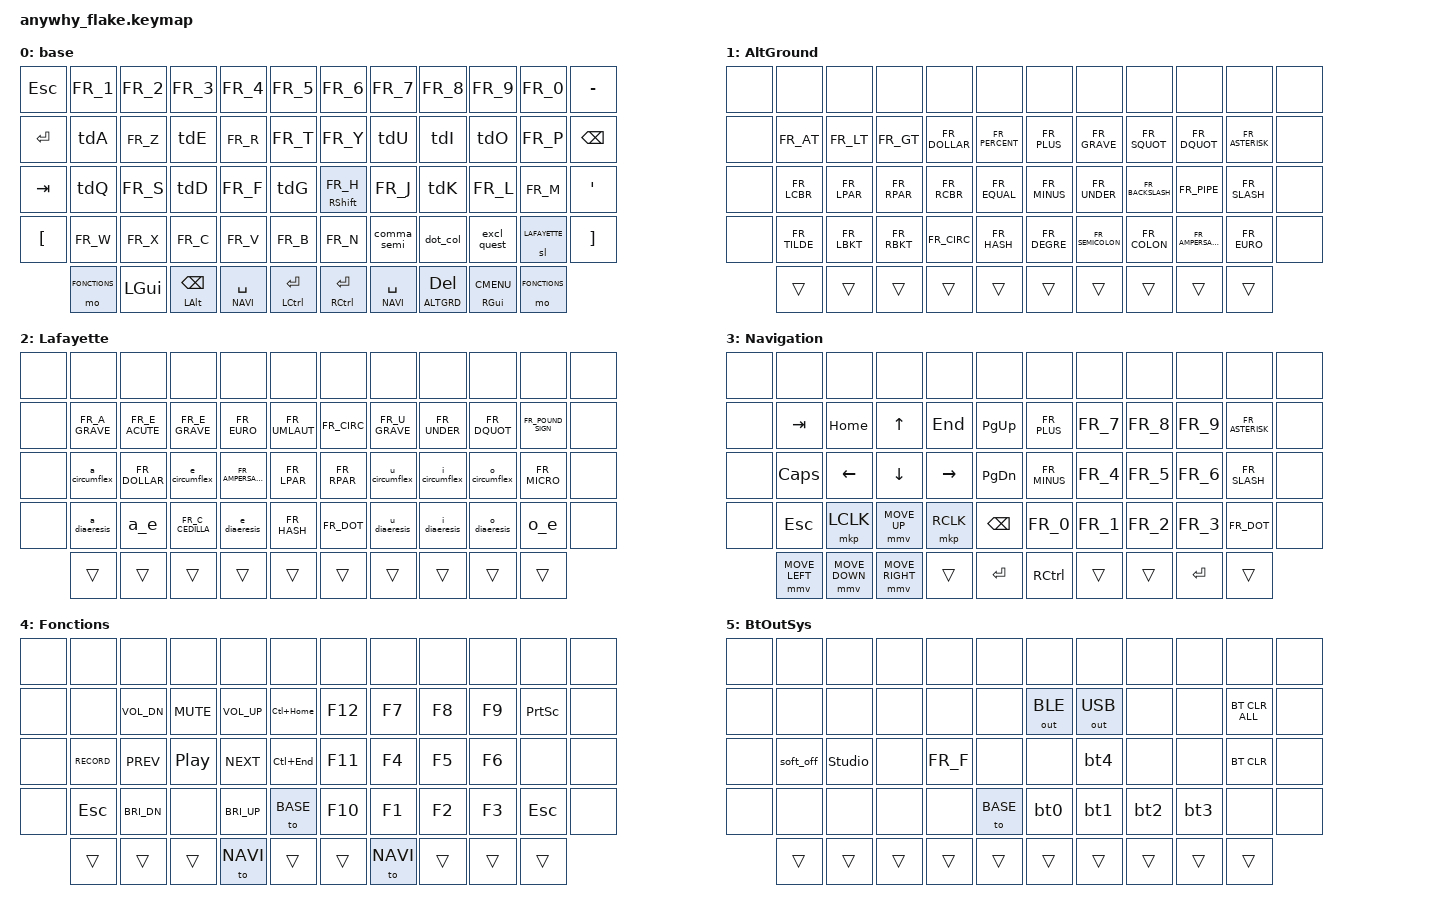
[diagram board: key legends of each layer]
#include <behaviors/mouse_keys.dtsi>
#include <behaviors.dtsi>
#include <dt-bindings/zmk/bt.h>
#include <dt-bindings/zmk/keys.h>
#include <dt-bindings/zmk/outputs.h>

#include "locale/keymap_fr.h"


#define BASE 0
#define ALTGRD 1
#define LAFAYETTE 2
#define NAVI 3
#define FONCTIONS 4
#define BT_OUT_SYS 5

#define ZMK_POINTING_DEFAULT_MOVE_VAL 1200  // 600
#define ZMK_POINTING_DEFAULT_SCRL_VAL 200    // 10
#include <dt-bindings/zmk/pointing.h>

#define HM_TAPPING_TERM 200

/ {
    // Activate BT_OUT_SYS layer by pressing ALTGRD and FONCTIONS
    conditional_layers {
        compatible = "zmk,conditional-layers";
        adajust_layer {
            if-layers = <FONCTIONS ALTGRD>;
            then-layer = <BT_OUT_SYS>;
        };
    };

    combos {
        compatible = "zmk,combos";

        bt_sel_3 {
            bindings = <&bt3>;
            key-positions = <42 30>;
            layers = <FONCTIONS>;
        };

        bt_sel_4 {
            bindings = <&bt4>;
            key-positions = <30 18>;
            layers = <FONCTIONS>;
        };

//        enter_gaming {
//            bindings = <&sl 3>;
//            key-positions = <26 15 28>;
//            layers = <FONCTIONS>;
//        };
//
//        leave_gaming {
//            bindings = <&sl 0>;
//            key-positions = <31 20 33>;
//            layers = <GAMINGNUM>;
//        };
//
//        grave {
//            bindings = <&kp GRAVE>;
//            key-positions = <13 25>;
//            layers = <GAMING>;
//        };
    };

    macros {
        bt_clr_0: bt_clr_0 {
            compatible = "zmk,behavior-macro";
            #binding-cells = <0>;
            bindings = <&bt BT_SEL 0 &bt BT_CLR>;
            label = "BT_CLR_0";
        };

        bt_clr_1: bt_clr_1 {
            compatible = "zmk,behavior-macro";
            #binding-cells = <0>;
            bindings = <&bt BT_SEL 1 &bt BT_CLR>;
            label = "BT_CLR_1";
        };

        bt_clr_2: bt_clr_2 {
            compatible = "zmk,behavior-macro";
            #binding-cells = <0>;
            bindings = <&bt BT_SEL 2 &bt BT_CLR>;
            label = "BT_CLR_2";
        };

        bt_clr_3: bt_clr_3 {
            compatible = "zmk,behavior-macro";
            #binding-cells = <0>;
            bindings = <&bt BT_SEL 3 &bt BT_CLR>;
            label = "BT_CLR_3";
        };

        bt_clr_4: bt_clr_4 {
            compatible = "zmk,behavior-macro";
            #binding-cells = <0>;
            bindings = <&bt BT_SEL 4 &bt BT_CLR>;
            label = "BT_CLR_4";
        };
    };

    behaviors {
        bt0: bt0 {
            compatible = "zmk,behavior-mod-morph";
            label = "BT0";
            bindings = <&bt BT_SEL 0>, <&bt_clr_0>;

            #binding-cells = <0>;
            mods = <(MOD_LSFT|MOD_RSFT)>;
        };

        bt1: bt1 {
            compatible = "zmk,behavior-mod-morph";
            label = "BT1";
            bindings = <&bt BT_SEL 1>, <&bt_clr_1>;

            #binding-cells = <0>;
            mods = <(MOD_LSFT|MOD_RSFT)>;
        };

        bt2: bt2 {
            compatible = "zmk,behavior-mod-morph";
            label = "BT2";
            bindings = <&bt BT_SEL 2>, <&bt_clr_2>;

            #binding-cells = <0>;
            mods = <(MOD_LSFT|MOD_RSFT)>;
        };

        bt3: bt3 {
            compatible = "zmk,behavior-mod-morph";
            label = "BT3";
            bindings = <&bt BT_SEL 3>, <&bt_clr_3>;

            #binding-cells = <0>;
            mods = <(MOD_LSFT|MOD_RSFT)>;
        };

        bt4: bt4 {
            compatible = "zmk,behavior-mod-morph";
            label = "BT4";
            bindings = <&bt BT_SEL 4>, <&bt_clr_4>;

            #binding-cells = <0>;
            mods = <(MOD_LSFT|MOD_RSFT)>;
        };


        mmv {
            acceleration-exponent = <1>;      // 1
            time-to-max-speed-ms = <900>;     // 40
            delay-ms = <0>;                   // 0
        };

        msc {
            acceleration-exponent = <1>;      // 0
            time-to-max-speed-ms = <400>;     // 500
            delay-ms = <0>;                   // 10
        };

        // tdLCTRL: tap_dance_left_ctrl {
        //     compatible = "zmk,behavior-tap-dance";
        //     #binding-cells = <0>;
        //     tapping-term-ms = <HM_TAPPING_TERM>;
        //     // bindings = <&mt LCTRL BACKSPACE>, <&to MOUSENAVI>;
        //     bindings = <&mt LCTRL ENTER>, <&to MOUSENAVI>;
        // };

        // tdRCTRL: tap_dance_right_ctrl {
        //     compatible = "zmk,behavior-tap-dance";
        //     #binding-cells = <0>;
        //     tapping-term-ms = <HM_TAPPING_TERM>;
        //     bindings = <&mt RCTRL ENTER>, <&to MOUSENAVI>;
        // };

        tdA: tap_dance_a_grave {
            compatible = "zmk,behavior-tap-dance";
            #binding-cells = <0>;
            tapping-term-ms = <HM_TAPPING_TERM>;
            bindings = <&kp FR_A>, <&kp FR_A_GRAVE>;
        };
        // tdC: tap_dance_ctrl_c {
        //     compatible = "zmk,behavior-tap-dance";
        //     #binding-cells = <0>;
        //     tapping-term-ms = <HM_TAPPING_TERM>;
        //     bindings = <&kp FR_C>, <&kp LC(FR_C)>;
        // };
        tdD: tap_dance_dollar {
            compatible = "zmk,behavior-tap-dance";
            #binding-cells = <0>;
            tapping-term-ms = <HM_TAPPING_TERM>;
            bindings = <&kp FR_D>, <&kp FR_DOLLAR>;
        };
        tdE: tap_dance_e_aigu_grave {
            compatible = "zmk,behavior-tap-dance";
            #binding-cells = <0>;
            tapping-term-ms = <HM_TAPPING_TERM>;
            bindings = <&kp FR_E>, <&kp FR_E_ACUTE>, <&kp FR_E_GRAVE>;
        };
        tdG: tap_dance_g {
            compatible = "zmk,behavior-tap-dance";
            #binding-cells = <0>;
            tapping-term-ms = <HM_TAPPING_TERM>;
            bindings = <&mt LSHIFT FR_G>, <&kp FR_EQUAL>;
        };
        tdI: tap_dance_squote {
            compatible = "zmk,behavior-tap-dance";
            #binding-cells = <0>;
            tapping-term-ms = <HM_TAPPING_TERM>;
            bindings = <&kp FR_I>, <&kp FR_SQUOT>;
        };
        tdK: tap_dance_ctrl_slash {
            compatible = "zmk,behavior-tap-dance";
            #binding-cells = <0>;
            tapping-term-ms = <HM_TAPPING_TERM>;
            bindings = <&kp FR_K>, <&kp LC(FR_SLASH)>;
        };
        tdO: tap_dance_dquote {
            compatible = "zmk,behavior-tap-dance";
            #binding-cells = <0>;
            tapping-term-ms = <HM_TAPPING_TERM>;
            bindings = <&kp FR_O>, <&kp FR_DQUOT>;
        };
        tdQ: tap_dance_slash {
            compatible = "zmk,behavior-tap-dance";
            #binding-cells = <0>;
            tapping-term-ms = <HM_TAPPING_TERM>;
            bindings = <&kp FR_Q>, <&kp FR_SLASH>;
        };
        // tdS: tap_dance_slash {
        //     compatible = "zmk,behavior-tap-dance";
        //     #binding-cells = <0>;
        //     tapping-term-ms = <HM_TAPPING_TERM>;
        //     bindings = <&kp FR_S>, <&kp FR_SLASH>;
        // };
        tdU: tap_dance_u_grave {
            compatible = "zmk,behavior-tap-dance";
            #binding-cells = <0>;
            tapping-term-ms = <HM_TAPPING_TERM>;
            bindings = <&kp FR_U>, <&kp FR_U_GRAVE>;
        };
        // tdV: tap_dance_ctrl_v {
        //     compatible = "zmk,behavior-tap-dance";
        //     #binding-cells = <0>;
        //     tapping-term-ms = <HM_TAPPING_TERM>;
        //     bindings = <&kp FR_V>, <&kp LC(FR_V)>;
        // };
        // tdX: tap_dance_ctrl_x {
        //     compatible = "zmk,behavior-tap-dance";
        //     #binding-cells = <0>;
        //     tapping-term-ms = <HM_TAPPING_TERM>;
        //     bindings = <&kp FR_X>, <&kp LC(FR_X)>;
        // };
        // tdZ: tap_dance_z_slash {
        //     compatible = "zmk,behavior-tap-dance";
        //     #binding-cells = <0>;
        //     tapping-term-ms = <HM_TAPPING_TERM>;
        //     bindings = <&kp FR_Z>, <&kp FR_SLASH>;
        // };

        tdCommaSemmi: tap_dance_comma_semi {
            compatible = "zmk,behavior-tap-dance";
            #binding-cells = <0>;
            tapping-term-ms = <HM_TAPPING_TERM>;
            bindings = <&kp FR_COMMA>, <&kp FR_SEMICOLON>;
        };
        tdDotCol: tap_dance_dot_col {
            compatible = "zmk,behavior-tap-dance";
            #binding-cells = <0>;
            tapping-term-ms = <HM_TAPPING_TERM>;
            bindings = <&kp FR_DOT>, <&kp FR_COLON>;
        };
        tdExclQuest: tap_dance_excl_quest {
            compatible = "zmk,behavior-tap-dance";
            #binding-cells = <0>;
            tapping-term-ms = <HM_TAPPING_TERM>;
            bindings = <&kp FR_EXCL>, <&kp FR_QUESTION>;
        };
        tdFn: tap_dance_function {
            compatible = "zmk,behavior-tap-dance";
            #binding-cells = <0>;
            tapping-term-ms = <HM_TAPPING_TERM>;
            bindings = <&mo FONCTIONS>, <&sl FONCTIONS>;
        };

        comma_semi: my_comma_semi {
            compatible = "zmk,behavior-mod-morph";
            #binding-cells = <0>;
            // bindings = <&kp FR_COMMA>, <&kp FR_SEMICOLON>;
            bindings = <&tdCommaSemmi>, <&kp FR_SEMICOLON>;
            mods = <(MOD_LSFT|MOD_RSFT)>;
        };
        dot_col: my_dot_colon {
            compatible = "zmk,behavior-mod-morph";
            #binding-cells = <0>;
            // bindings = <&kp FR_DOT>, <&kp FR_COLON>;
            bindings = <&tdDotCol>, <&kp FR_COLON>;
            mods = <(MOD_LSFT|MOD_RSFT)>;
        };
        excl_quest: my_excl_quest {
            compatible = "zmk,behavior-mod-morph";
            #binding-cells = <0>;
            // bindings = <&kp FR_EXCL>, <&kp FR_QUESTION>;
            bindings = <&tdExclQuest>, <&kp FR_QUESTION>;
            mods = <(MOD_LSFT|MOD_RSFT)>;
        };

        hm: homerow_mods {
            compatible = "zmk,behavior-hold-tap";
            #binding-cells = <2>;
            tapping-term-ms = <150>;
            quick-tap-ms = <0>;
            // flavor = "tap-preferred";
            flavor = "balanced";
            bindings = <&kp>, <&kp>;
        };

        macros {

            a_circumflex: a_circumflex{
                compatible = "zmk,behavior-macro";
                #binding-cells = <0>;
                wait-ms = <30>;
                tap-ms = <40>;
                bindings = <&kp FR_CIRC &kp FR_A>;
            };
            e_circumflex: e_circumflex{
                compatible = "zmk,behavior-macro";
                #binding-cells = <0>;
                wait-ms = <30>;
                tap-ms = <40>;
                bindings = <&kp FR_CIRC &kp FR_E>;
            };
            i_circumflex: i_circumflex{
                compatible = "zmk,behavior-macro";
                #binding-cells = <0>;
                wait-ms = <30>;
                tap-ms = <40>;
                bindings = <&kp FR_CIRC &kp FR_I>;
            };
            o_circumflex: o_circumflex{
                compatible = "zmk,behavior-macro";
                #binding-cells = <0>;
                wait-ms = <30>;
                tap-ms = <40>;
                bindings = <&kp FR_CIRC &kp FR_O>;
            };
            u_circumflex: u_circumflex{
                compatible = "zmk,behavior-macro";
                #binding-cells = <0>;
                wait-ms = <30>;
                tap-ms = <40>;
                bindings = <&kp FR_CIRC &kp FR_U>;
            };

            a_diaeresis: a_diaeresis{
                compatible = "zmk,behavior-macro";
                #binding-cells = <0>;
                wait-ms = <30>;
                tap-ms = <40>;
                bindings = <&kp FR_UMLAUT &kp FR_A>;
            };
            e_diaeresis: e_diaeresis{
                compatible = "zmk,behavior-macro";
                #binding-cells = <0>;
                wait-ms = <30>;
                tap-ms = <40>;
                bindings = <&kp FR_UMLAUT &kp FR_E>;
            };
            i_diaeresis: i_diaeresis{
                compatible = "zmk,behavior-macro";
                #binding-cells = <0>;
                wait-ms = <30>;
                tap-ms = <40>;
                bindings = <&kp FR_UMLAUT &kp FR_I>;
            };
            o_diaeresis: o_diaeresis{
                compatible = "zmk,behavior-macro";
                #binding-cells = <0>;
                wait-ms = <30>;
                tap-ms = <40>;
                bindings = <&kp FR_UMLAUT &kp FR_O>;
            };
            u_diaeresis: u_diaeresis{
                compatible = "zmk,behavior-macro";
                #binding-cells = <0>;
                wait-ms = <30>;
                tap-ms = <40>;
                bindings = <&kp FR_UMLAUT &kp FR_U>;
            };

            a_e: a_e {
                compatible = "zmk,behavior-macro";
                #binding-cells = <0>;
                wait-ms = <30>;
                tap-ms = <40>;
                bindings
                    = <&macro_press   &kp LCTRL &kp LSHIFT>
                    , <&macro_tap     &kp U>
                    , <&macro_release &kp LCTRL &kp LSHIFT>
                    // , <&macro_tap     &kp N0 &kp N0 &kp E &kp N6>
                    , <&macro_tap     &kp FR_0 &kp FR_0 &kp E &kp FR_6 &kp ENTER>
                    ;
            };

            o_e: o_e {
                compatible = "zmk,behavior-macro";
                #binding-cells = <0>;
                wait-ms = <30>;
                tap-ms = <40>;
                bindings
                    = <&macro_press   &kp LCTRL &kp LSHIFT>
                    , <&macro_tap     &kp U>
                    , <&macro_release &kp LCTRL &kp LSHIFT>
                    // , <&macro_tap     &kp N0 &kp N1 &kp N5 &kp N3>
                    , <&macro_tap     &kp FR_0 &kp FR_1 &kp FR_5 &kp FR_3 &kp ENTER>
                    ;
            };

        };

    };

    keymap {
        compatible = "zmk,keymap";

//  1        2             3             4                  5              6                7               8              9               10                     11            12
// 13       14            15            16                 17             18               19              20             21               22                     23            24
// 25       26            27            28                 29             30               31              32             33               34                     35            36
// 37       38            39            40                 41             42               43              44             45               46                     47            48
//          49            50            51                 52             53               54              55             56               57                     58


        base {
            bindings = <
                &kp ESC    &kp FR_1         &kp FR_2         &kp FR_3           &kp FR_4         &kp FR_5         &kp FR_6        &kp FR_7       &kp FR_8          &kp FR_9              &kp FR_0      &kp MINUS
                &kp ENTER  &tdA             &kp FR_Z         &tdE               &kp FR_R         &kp FR_T         &kp FR_Y        &tdU           &tdI              &tdO                  &kp FR_P      &kp BSPC
                &kp TAB    &tdQ             &kp FR_S         &tdD               &kp FR_F         &tdG             &mt RSHIFT FR_H &kp FR_J       &tdK              &kp FR_L              &kp FR_M      &kp APOS
                &kp LBKT   &kp FR_W         &kp FR_X         &kp FR_C           &kp FR_V         &kp FR_B         &kp FR_N        &comma_semi    &dot_col          &excl_quest           &sl LAFAYETTE &kp RBKT
                           &mo FONCTIONS    &kp LEFT_GUI     &mt LALT BACKSPACE &lt NAVI SPACE   &mt LCTRL ENTER  &mt RCTRL ENTER &lt NAVI SPACE &lt ALTGRD DELETE &mt RIGHT_GUI K_CMENU &mo FONCTIONS
            >;
        };

        AltGround {
            bindings = <
                &none      &none            &none            &none              &none            &none            &none           &none            &none            &none            &none            &none
                &none      &kp FR_AT        &kp FR_LT        &kp FR_GT          &kp FR_DOLLAR    &kp FR_PERCENT   &kp FR_PLUS     &kp FR_GRAVE     &kp FR_SQUOT     &kp FR_DQUOT     &kp FR_ASTERISK  &none
                &none      &kp FR_LCBR      &kp FR_LPAR      &kp FR_RPAR        &kp FR_RCBR      &kp FR_EQUAL     &kp FR_MINUS    &kp FR_UNDER     &kp FR_BACKSLASH &kp FR_PIPE      &kp FR_SLASH     &none
                &none      &kp FR_TILDE     &kp FR_LBKT      &kp FR_RBKT        &kp FR_CIRC      &kp FR_HASH      &kp FR_DEGRE    &kp FR_SEMICOLON &kp FR_COLON     &kp FR_AMPERSAND &kp FR_EURO      &none
                           &trans           &trans           &trans             &trans           &trans           &trans          &trans           &trans           &trans           &trans
            >;
        };

        Lafayette {
            bindings = <
                &none      &none            &none            &none              &none            &none            &none           &none            &none            &none            &none             &none
                &none      &kp FR_A_GRAVE   &kp FR_E_ACUTE   &kp FR_E_GRAVE     &kp FR_EURO      &kp FR_UMLAUT    &kp FR_CIRC     &kp FR_U_GRAVE   &kp FR_UNDER     &kp FR_DQUOT     &kp FR_POUND_SIGN &none
                &none      &a_circumflex    &kp FR_DOLLAR    &e_circumflex      &kp FR_AMPERSAND &kp FR_LPAR      &kp FR_RPAR     &u_circumflex    &i_circumflex    &o_circumflex    &kp FR_MICRO      &none
                &none      &a_diaeresis     &a_e             &kp FR_C_CEDILLA   &e_diaeresis     &kp FR_HASH      &kp FR_DOT      &u_diaeresis     &i_diaeresis     &o_diaeresis     &o_e              &none
                           &trans           &trans           &trans             &trans           &trans           &trans          &trans           &trans           &trans           &trans
            >;
        };

        Navigation {
            bindings = <
                &none      &none            &none            &none              &none            &none            &none           &none            &none            &none            &none            &none
                &none      &kp TAB          &kp HOME         &kp UP_ARROW       &kp END          &kp PAGE_UP      &kp FR_PLUS     &kp FR_7         &kp FR_8         &kp FR_9         &kp FR_ASTERISK  &none
                &none      &kp CAPS         &kp LEFT_ARROW   &kp DOWN_ARROW     &kp RIGHT_ARROW  &kp PAGE_DOWN    &kp FR_MINUS    &kp FR_4         &kp FR_5         &kp FR_6         &kp FR_SLASH     &none
                &none      &kp ESC          &mkp LCLK        &mmv MOVE_UP       &mkp RCLK        &kp BACKSPACE    &kp FR_0        &kp FR_1         &kp FR_2         &kp FR_3         &kp FR_DOT       &none
                           &mmv MOVE_LEFT   &mmv MOVE_DOWN   &mmv MOVE_RIGHT    &trans           &kp ENTER        &kp RCTRL       &trans           &trans           &kp ENTER        &trans
            >;
        };

        Fonctions {
            bindings = <
                &none      &none            &none            &none              &none            &none            &none           &none            &none           &none            &none            &none
                &none      &none            &kp C_VOL_DN     &kp C_MUTE         &kp C_VOL_UP     &kp LC(HOME)     &kp F12         &kp F7           &kp F8          &kp F9           &kp PRINTSCREEN  &none
                &none      &kp C_RECORD     &kp C_PREV       &kp C_PLAY_PAUSE   &kp C_NEXT       &kp LC(END)      &kp F11         &kp F4           &kp F5          &kp F6           &none            &none
                &none      &kp ESC          &kp C_BRI_DN     &none              &kp C_BRI_UP     &to BASE         &kp F10         &kp F1           &kp F2          &kp F3           &kp ESC          &none
                           &trans           &trans           &trans             &to NAVI         &trans           &trans          &to NAVI         &trans          &trans           &trans
            >;
        };

        // TODO: à compléter / le F n'est là que pour tester
        BtOutSys {
            bindings = <
                &none      &none            &none            &none             &none             &none            &none          &none             &none           &none            &none           &none
                &none      &none            &none            &none             &none             &none            &out OUT_BLE   &out OUT_USB      &none           &none            &bt BT_CLR_ALL  &none
                &none      &soft_off        &studio_unlock   &none             &kp FR_F          &none            &none          &bt4              &none           &none            &bt BT_CLR      &none
                &none      &none            &none            &none             &none             &to BASE         &bt0           &bt1              &bt2            &bt3             &none           &none
                           &trans           &trans           &trans            &trans            &trans           &trans         &trans            &trans          &trans           &trans
            >;
        };

/*
            gaming {
                bindings = <
    &kp ESC    &kp FR_1    &kp FR_2       &kp FR_3    &kp FR_4     &kp FR_5       &kp FR_6      &kp FR_7    &kp FR_8     &kp FR_9       &kp FR_0     &kp MINUS
    &kp CAPS   &kp TAB     &kp Q          &kp W       &kp E        &kp R          &kp Y         &kp U       &kp I        &kp O          &kp P        &kp BSPC
    &kp ENTER  &kp LSHFT   &kp A          &kp S       &kp D        &kp F          &kp H         &kp J       &kp K        &kp L          &kp SEMI     &kp APOS
    &kp LBKT   &kp LCTRL   &kp Z          &kp X       &kp C        &kp V          &kp N         &kp M       &kp COMMA    &kp DOT        &kp FSLH     &kp RBKT
            &kp T       &kp G          &kp B       &kp SPACE    &mo GAMINGNUM  &mo FONCTIONS &kp LSHFT   &kp LGUI     &kp LALT       &kp LCTRL
                >;
            };

            gaming_num {
                bindings = <
    &trans     &trans      &trans         &trans      &trans      &trans         &trans         &trans     &trans        &trans         &trans       &trans
    &trans     &kp ESC     &kp BSPC       &kp CAPS    &kp ENTER   &kp DEL        &trans         &trans     &trans        &trans         &trans       &trans
    &trans     &kp FR_1    &kp FR_2       &kp FR_3    &kp FR_4    &kp FR_5       &trans         &trans     &trans        &trans         &trans       &trans
    &trans     &kp FR_6    &kp FR_7       &kp FR_8    &kp FR_9    &kp FR_0       &trans         &trans     &trans        &trans         &trans       &trans
            &trans      &trans         &trans      &trans      &trans         &trans         &trans     &trans        &trans         &trans
                >;
            };
*/

    };
};
